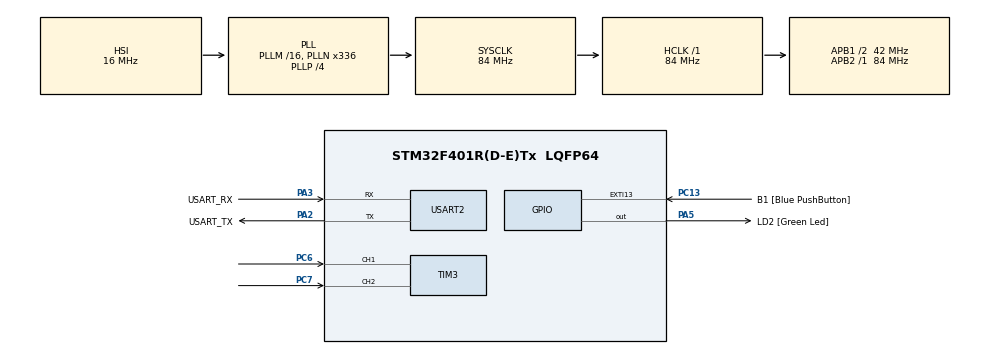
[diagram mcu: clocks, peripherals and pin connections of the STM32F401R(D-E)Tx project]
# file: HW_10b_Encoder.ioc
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Dma.Request0=USART2_TX
Dma.USART2_TX.0.Direction=DMA_MEMORY_TO_PERIPH
Dma.USART2_TX.0.FIFOMode=DMA_FIFOMODE_DISABLE
Dma.USART2_TX.0.Instance=DMA1_Stream6
Dma.USART2_TX.0.MemDataAlignment=DMA_MDATAALIGN_BYTE
Dma.USART2_TX.0.MemInc=DMA_MINC_ENABLE
Dma.USART2_TX.0.Mode=DMA_NORMAL
Dma.USART2_TX.0.PeriphDataAlignment=DMA_PDATAALIGN_BYTE
Dma.USART2_TX.0.PeriphInc=DMA_PINC_DISABLE
Dma.USART2_TX.0.Priority=DMA_PRIORITY_HIGH
Mcu.Family=STM32F4
Mcu.Name=STM32F401R(D-E)Tx
Mcu.Package=LQFP64
NVIC.DMA1_Stream6_IRQn=true\:0\:0\:false\:false\:true\:false\:true\:true
NVIC.PriorityGroup=NVIC_PRIORITYGROUP_0
NVIC.TIM2_IRQn=true\:0\:0\:false\:false\:true\:true\:true\:true
NVIC.USART2_IRQn=true\:0\:0\:false\:false\:true\:true\:true\:true
PA13.GPIO_Label=TMS
PA13.Mode=Serial_Wire
PA13.Signal=SYS_JTMS-SWDIO
PA14.GPIO_Label=TCK
PA14.Mode=Serial_Wire
PA14.Signal=SYS_JTCK-SWCLK
PA2.GPIO_Label=USART_TX
PA2.GPIO_Mode=GPIO_MODE_AF_PP
PA2.GPIO_PuPd=GPIO_NOPULL
PA2.GPIO_Speed=GPIO_SPEED_FREQ_LOW
PA2.Mode=Asynchronous
PA2.Signal=USART2_TX
PA3.GPIO_Label=USART_RX
PA3.GPIO_Mode=GPIO_MODE_AF_PP
PA3.GPIO_PuPd=GPIO_NOPULL
PA3.GPIO_Speed=GPIO_SPEED_FREQ_LOW
PA3.Mode=Asynchronous
PA3.Signal=USART2_RX
PA5.GPIO_Label=LD2 [Green Led]
PA5.GPIO_Mode=GPIO_MODE_OUTPUT_PP
PA5.GPIO_PuPd=GPIO_NOPULL
PA5.GPIO_Speed=GPIO_SPEED_FREQ_LOW
PA5.Signal=GPIO_Output
PB3.GPIO_Label=SWO
PB3.Signal=SYS_JTDO-SWO
PC13-ANTI_TAMP.GPIO_Label=B1 [Blue PushButton]
PC13-ANTI_TAMP.GPIO_ModeDefaultEXTI=GPIO_MODE_IT_FALLING
PC13-ANTI_TAMP.GPIO_PuPd=GPIO_NOPULL
PC13-ANTI_TAMP.Signal=GPXTI13
PC14-OSC32_IN.Mode=LSE-External-Oscillator
PC14-OSC32_IN.Signal=RCC_OSC32_IN
PC15-OSC32_OUT.Mode=LSE-External-Oscillator
PC15-OSC32_OUT.Signal=RCC_OSC32_OUT
PC6.Signal=S_TIM3_CH1
PC7.Signal=S_TIM3_CH2
PH0\ -\ OSC_IN.Mode=HSE-External-Clock-Source
PH0\ -\ OSC_IN.Signal=RCC_OSC_IN
PH1\ -\ OSC_OUT.Mode=HSE-External-Clock-Source
PH1\ -\ OSC_OUT.Signal=RCC_OSC_OUT
ProjectManager.HeapSize=0x200
ProjectManager.StackSize=0x400
ProjectManager.TargetToolchain=STM32CubeIDE
RCC.48MHZClocksFreq_Value=48000000
RCC.AHBFreq_Value=84000000
RCC.APB1CLKDivider=RCC_HCLK_DIV2
RCC.APB1Freq_Value=42000000
RCC.APB1TimFreq_Value=84000000
RCC.APB2Freq_Value=84000000
RCC.APB2TimFreq_Value=84000000
RCC.CortexFreq_Value=84000000
RCC.HCLKFreq_Value=84000000
RCC.HSE_VALUE=8000000
RCC.HSI_VALUE=16000000
RCC.PLLN=336
RCC.PLLP=RCC_PLLP_DIV4
RCC.PLLQ=7
RCC.SYSCLKFreq_VALUE=84000000
RCC.SYSCLKSource=RCC_SYSCLKSOURCE_PLLCLK
RCC.VCOOutputFreq_Value=336000000
SH.S_TIM3_CH1.0=TIM3_CH1,Encoder_Interface
SH.S_TIM3_CH2.0=TIM3_CH2,Encoder_Interface
TIM2.Period=10000-1
TIM2.Prescaler=8400-1
TIM3.ClockDivision=TIM_CLOCKDIVISION_DIV4
TIM3.IC1Filter=15
TIM3.IC1Polarity=TIM_ICPOLARITY_FALLING
TIM3.IC2Filter=15
USART2.VirtualMode=VM_ASYNC
VP_TIM2_VS_ClockSourceINT.Mode=Internal
board=NUCLEO-F401RE

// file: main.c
/* USER CODE BEGIN Header */
/**
  ******************************************************************************
  * @file           : main.c
  * @brief          : Main program body
  ******************************************************************************
  * @attention
  *
  * Copyright (c) 2024 STMicroelectronics.
  * All rights reserved.
  *
  * This software is licensed under terms that can be found in the LICENSE file
  * in the root directory of this software component.
  * If no LICENSE file comes with this software, it is provided AS-IS.
  *
  ******************************************************************************
  */
/* USER CODE END Header */
#include "main.h"

/* USER CODE BEGIN Includes */

#include "stdio.h"
#include "string.h"

/* USER CODE END Includes */

/* USER CODE BEGIN PD */

#define STR_LEN 32
#define FULL_CYCLE_RPMS 24.0
#define SEC_TO_MIN 60

/* USER CODE END PD */

TIM_HandleTypeDef htim2;
TIM_HandleTypeDef htim3;

UART_HandleTypeDef huart2;
DMA_HandleTypeDef hdma_usart2_tx;

/* USER CODE BEGIN PV */

//signed to solve overflow/underflow problem of timer counter
int16_t counter = 0;
int16_t old_counter = 0;
int16_t delta = 0;

float rpm_value = 0;

int length = 0;
char string[STR_LEN];

/* USER CODE END PV */

void SystemClock_Config(void);
static void MX_GPIO_Init(void);
static void MX_DMA_Init(void);
static void MX_USART2_UART_Init(void);
static void MX_TIM3_Init(void);
static void MX_TIM2_Init(void);

/* USER CODE BEGIN 0 */

void HAL_TIM_PeriodElapsedCallback (TIM_HandleTypeDef *htim) {	//timer 2 callback called every second

	if (htim == &htim2) {

		counter = __HAL_TIM_GET_COUNTER(&htim3);
		delta = counter - old_counter;
		old_counter = counter;

		rpm_value = (delta/FULL_CYCLE_RPMS)*SEC_TO_MIN;	//convert in rpm

		int length = snprintf(string, sizeof(string), "Speed: %.1frpm\n", rpm_value);
		HAL_UART_Transmit_DMA(&huart2, string, length);
	}
}

/* USER CODE END 0 */

int main(void)
{

  /* MCU Configuration--------------------------------------------------------*/

  /* Reset of all peripherals, Initializes the Flash interface and the Systick. */
  HAL_Init();

  /* Configure the system clock */
  SystemClock_Config();

  /* Initialize all configured peripherals */
  MX_GPIO_Init();
  MX_DMA_Init();
  MX_USART2_UART_Init();
  MX_TIM3_Init();
  MX_TIM2_Init();
  /* USER CODE BEGIN 2 */

  HAL_TIM_Encoder_Start(&htim3, TIM_CHANNEL_ALL);	//start TIM3 in encoder mode
  __HAL_TIM_CLEAR_IT(&htim2, TIM_IT_UPDATE);		//clear interrupt request BEFORE enabling tim interrupt
  HAL_TIM_Base_Start_IT(&htim2); 					//start TIM2 in interrupt mode

  /* USER CODE END 2 */

  /* Infinite loop */
  while (1)
  {

  }
}

void SystemClock_Config(void)
{
  RCC_OscInitTypeDef RCC_OscInitStruct = {0};
  RCC_ClkInitTypeDef RCC_ClkInitStruct = {0};

  /** Configure the main internal regulator output voltage
  */
  __HAL_RCC_PWR_CLK_ENABLE();
  __HAL_PWR_VOLTAGESCALING_CONFIG(PWR_REGULATOR_VOLTAGE_SCALE2);

  /** Initializes the RCC Oscillators according to the specified parameters
  * in the RCC_OscInitTypeDef structure.
  */
  RCC_OscInitStruct.OscillatorType = RCC_OSCILLATORTYPE_HSI;
  RCC_OscInitStruct.HSIState = RCC_HSI_ON;
  RCC_OscInitStruct.HSICalibrationValue = RCC_HSICALIBRATION_DEFAULT;
  RCC_OscInitStruct.PLL.PLLState = RCC_PLL_ON;
  RCC_OscInitStruct.PLL.PLLSource = RCC_PLLSOURCE_HSI;
  RCC_OscInitStruct.PLL.PLLM = 16;
  RCC_OscInitStruct.PLL.PLLN = 336;
  RCC_OscInitStruct.PLL.PLLP = RCC_PLLP_DIV4;
  RCC_OscInitStruct.PLL.PLLQ = 7;
  if (HAL_RCC_OscConfig(&RCC_OscInitStruct) != HAL_OK)
  {
    Error_Handler();
  }

  /** Initializes the CPU, AHB and APB buses clocks
  */
  RCC_ClkInitStruct.ClockType = RCC_CLOCKTYPE_HCLK|RCC_CLOCKTYPE_SYSCLK
                              |RCC_CLOCKTYPE_PCLK1|RCC_CLOCKTYPE_PCLK2;
  RCC_ClkInitStruct.SYSCLKSource = RCC_SYSCLKSOURCE_PLLCLK;
  RCC_ClkInitStruct.AHBCLKDivider = RCC_SYSCLK_DIV1;
  RCC_ClkInitStruct.APB1CLKDivider = RCC_HCLK_DIV2;
  RCC_ClkInitStruct.APB2CLKDivider = RCC_HCLK_DIV1;

  if (HAL_RCC_ClockConfig(&RCC_ClkInitStruct, FLASH_LATENCY_2) != HAL_OK)
  {
    Error_Handler();
  }
}

static void MX_TIM2_Init(void)
{

  TIM_ClockConfigTypeDef sClockSourceConfig = {0};
  TIM_MasterConfigTypeDef sMasterConfig = {0};

  htim2.Instance = TIM2;
  htim2.Init.Prescaler = 8400-1;
  htim2.Init.CounterMode = TIM_COUNTERMODE_UP;
  htim2.Init.Period = 10000-1;
  htim2.Init.ClockDivision = TIM_CLOCKDIVISION_DIV1;
  htim2.Init.AutoReloadPreload = TIM_AUTORELOAD_PRELOAD_DISABLE;
  if (HAL_TIM_Base_Init(&htim2) != HAL_OK)
  {
    Error_Handler();
  }
  sClockSourceConfig.ClockSource = TIM_CLOCKSOURCE_INTERNAL;
  if (HAL_TIM_ConfigClockSource(&htim2, &sClockSourceConfig) != HAL_OK)
  {
    Error_Handler();
  }
  sMasterConfig.MasterOutputTrigger = TIM_TRGO_RESET;
  sMasterConfig.MasterSlaveMode = TIM_MASTERSLAVEMODE_DISABLE;
  if (HAL_TIMEx_MasterConfigSynchronization(&htim2, &sMasterConfig) != HAL_OK)
  {
    Error_Handler();
  }

}

static void MX_TIM3_Init(void)
{

  TIM_Encoder_InitTypeDef sConfig = {0};
  TIM_MasterConfigTypeDef sMasterConfig = {0};

  htim3.Instance = TIM3;
  htim3.Init.Prescaler = 0;
  htim3.Init.CounterMode = TIM_COUNTERMODE_UP;
  htim3.Init.Period = 65535;
  htim3.Init.ClockDivision = TIM_CLOCKDIVISION_DIV4;
  htim3.Init.AutoReloadPreload = TIM_AUTORELOAD_PRELOAD_DISABLE;
  sConfig.EncoderMode = TIM_ENCODERMODE_TI1;
  sConfig.IC1Polarity = TIM_ICPOLARITY_FALLING;
  sConfig.IC1Selection = TIM_ICSELECTION_DIRECTTI;
  sConfig.IC1Prescaler = TIM_ICPSC_DIV1;
  sConfig.IC1Filter = 15;
  sConfig.IC2Polarity = TIM_ICPOLARITY_RISING;
  sConfig.IC2Selection = TIM_ICSELECTION_DIRECTTI;
  sConfig.IC2Prescaler = TIM_ICPSC_DIV1;
  sConfig.IC2Filter = 15;
  if (HAL_TIM_Encoder_Init(&htim3, &sConfig) != HAL_OK)
  {
    Error_Handler();
  }
  sMasterConfig.MasterOutputTrigger = TIM_TRGO_RESET;
  sMasterConfig.MasterSlaveMode = TIM_MASTERSLAVEMODE_DISABLE;
  if (HAL_TIMEx_MasterConfigSynchronization(&htim3, &sMasterConfig) != HAL_OK)
  {
    Error_Handler();
  }

}

static void MX_USART2_UART_Init(void)
{

  huart2.Instance = USART2;
  huart2.Init.BaudRate = 115200;
  huart2.Init.WordLength = UART_WORDLENGTH_8B;
  huart2.Init.StopBits = UART_STOPBITS_1;
  huart2.Init.Parity = UART_PARITY_NONE;
  huart2.Init.Mode = UART_MODE_TX_RX;
  huart2.Init.HwFlowCtl = UART_HWCONTROL_NONE;
  huart2.Init.OverSampling = UART_OVERSAMPLING_16;
  if (HAL_UART_Init(&huart2) != HAL_OK)
  {
    Error_Handler();
  }

}

static void MX_DMA_Init(void)
{

  /* DMA controller clock enable */
  __HAL_RCC_DMA1_CLK_ENABLE();

  /* DMA interrupt init */
  /* DMA1_Stream6_IRQn interrupt configuration */
  HAL_NVIC_SetPriority(DMA1_Stream6_IRQn, 0, 0);
  HAL_NVIC_EnableIRQ(DMA1_Stream6_IRQn);

}

static void MX_GPIO_Init(void)
{
  GPIO_InitTypeDef GPIO_InitStruct = {0};

  /* GPIO Ports Clock Enable */
  __HAL_RCC_GPIOC_CLK_ENABLE();
  __HAL_RCC_GPIOH_CLK_ENABLE();
  __HAL_RCC_GPIOA_CLK_ENABLE();
  __HAL_RCC_GPIOB_CLK_ENABLE();

  /*Configure GPIO pin Output Level */
  HAL_GPIO_WritePin(LD2_GPIO_Port, LD2_Pin, GPIO_PIN_RESET);

  /*Configure GPIO pin : B1_Pin */
  GPIO_InitStruct.Pin = B1_Pin;
  GPIO_InitStruct.Mode = GPIO_MODE_IT_FALLING;
  GPIO_InitStruct.Pull = GPIO_NOPULL;
  HAL_GPIO_Init(B1_GPIO_Port, &GPIO_InitStruct);

  /*Configure GPIO pin : LD2_Pin */
  GPIO_InitStruct.Pin = LD2_Pin;
  GPIO_InitStruct.Mode = GPIO_MODE_OUTPUT_PP;
  GPIO_InitStruct.Pull = GPIO_NOPULL;
  GPIO_InitStruct.Speed = GPIO_SPEED_FREQ_LOW;
  HAL_GPIO_Init(LD2_GPIO_Port, &GPIO_InitStruct);

}

void Error_Handler(void)
{
  __disable_irq();
  while (1)
  {
  }
}
